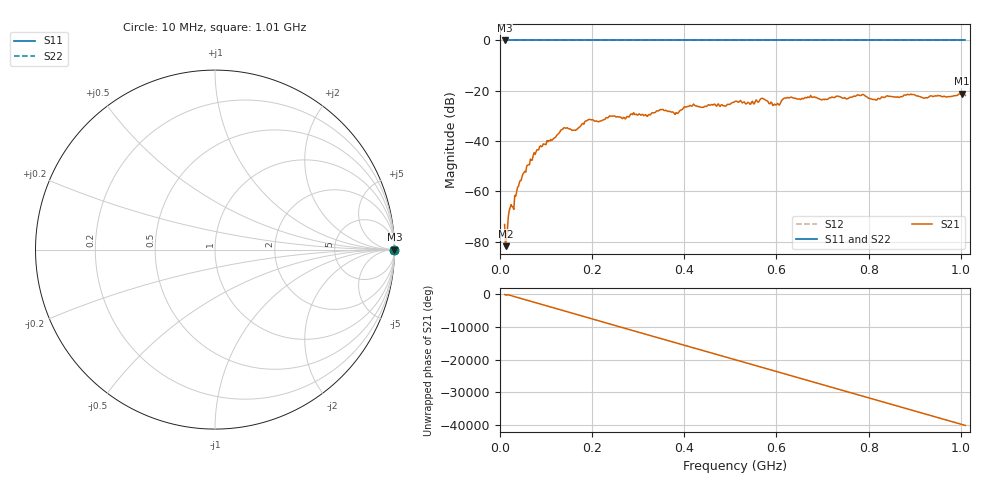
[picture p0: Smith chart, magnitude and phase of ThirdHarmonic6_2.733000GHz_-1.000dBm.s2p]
! 8/17/2025 6:44:11 AM
! C:\ANRITSUVNA\TEMP\TEMP.S2P
! CHANNEL.1
! TR.MEASUREMENT
! RAW.DATA
! RF.CORRECTION.OFF
! AVERAGING.OFF
! IF.BANDWIDTH: 5KHZ
! SWEEPTYPE:  FREQ.SWEEP(Linear)
! Reference Plane Port Info
! PORT:  PORT1  PORT2
! DISTANCE:  0  m  0  m
! TIME:  0  s  0  s
! PHASE.OFFSET:  0  deg.  0  deg.
! LOSS:  0  dB  0  dB
! REF.LOSS:  0  dB  0  dB
! REF.FREQ:  0  Hz  0  Hz
! Power Info
! POWER:  -20  dBm  -20  dBm
! EFF.POWER:  -20  dBm  -20  dBm
! SOURCE.ATTEN:  0  dB  0  dB
! TEST.ATTEN:  0  dB  0  dB
# GHZ S RI R 50.0
! FREQ.GHZ  S11RE  S11IM  S21RE  S21IM  S12RE  S12IM  S22RE  S22IM
!; PortSelection: Port_12
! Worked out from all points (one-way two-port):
!   501 points, 10 MHz to 1.01 GHz, reference 50 ohm
!   highest |S21| = -21.10 dB at 1.002 GHz (marker M1); lowest = -81.8 dB at 12 MHz (marker M2)
!   lowest |S11| = 0.0 dB at 10 MHz (marker M3)
!   |S11| at or under -10 dB: nowhere
!   |S22| runs from 0.0 to 0.0 dB; largest |S21 - S12| = 1.1
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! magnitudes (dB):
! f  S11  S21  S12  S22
! 10 MHz  0.0  -73.2  0.0  0.0
! 12 MHz  0.0  -81.8  0.0  0.0
! 16 MHz  0.0  -75.2  0.0  0.0
! 22 MHz  0.0  -66.5  0.0  0.0
! 30 MHz  0.0  -67.2  0.0  0.0
! 40 MHz  0.0  -58.0  0.0  0.0
! 76 MHz  0.0  -45.3  0.0  0.0
! 136 MHz  0.0  -35.3  0.0  0.0
! 162 MHz  0.0  -35.6  0.0  0.0
! 178 MHz  0.0  -33.2  0.0  0.0
! 194 MHz  0.0  -31.4  0.0  0.0
! 344 MHz  0.0  -28.0  0.0  0.0
! 382 MHz  0.0  -28.7  0.0  0.0
! 416 MHz  0.0  -26.2  0.0  0.0
! 510 MHz  0.0  -24.2  0.0  0.0
! 570 MHz  0.0  -23.0  0.0  0.0
! 596 MHz  0.0  -25.3  0.0  0.0
! 620 MHz  0.0  -22.9  0.0  0.0
! 678 MHz  0.0  -22.6  0.0  0.0
! 844 MHz  0.0  -22.2  0.0  0.0
! 1.002 GHz  0.0  -21.1  0.0  0.0
! 1.01 GHz  0.0  -21.9  0.0  0.0
